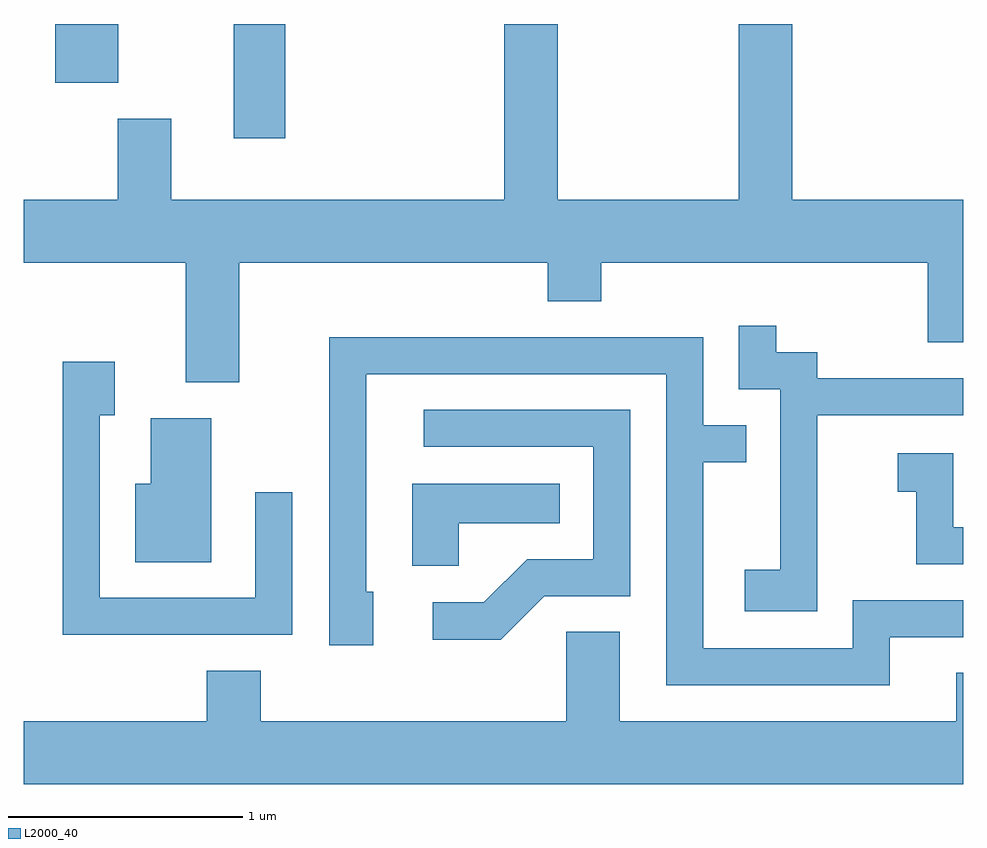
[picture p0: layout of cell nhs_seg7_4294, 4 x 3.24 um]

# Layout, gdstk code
import gdstk
lib = gdstk.Library(unit=1e-6, precision=1e-09)
def R(c, l, rs):  # rectangles x0, y0, x1, y1
    for r in rs: c.add(gdstk.rectangle(r[:2], r[2:], *l))
def P(c, l, *ps):  # polygons
    for p in ps: c.add(gdstk.Polygon(p, *l))
L2000_40 = (2000, 40)

nhs_seg7_4294 = lib.new_cell('nhs_seg7_4294')
R(nhs_seg7_4294, L2000_40, [(318.506,1683.766,318.724,1684.252), (317.746,1684.001,318.014,1684.252)])
P(nhs_seg7_4294, L2000_40, [(318.529,1683.236),(319.841,1683.236),(319.841,1683.071),(320.069,1683.071),(320.069,1683.236),(321.461,1683.236),(321.461,1682.896),(321.611,1682.896),(321.611,1683.504),(320.884,1683.504),(320.884,1684.252),(320.656,1684.252),(320.656,1683.504),(319.884,1683.504),(319.884,1684.252),(319.656,1684.252),(319.656,1683.504),(318.239,1683.504),(318.239,1683.849),(318.011,1683.849),(318.011,1683.504),(317.611,1683.504),(317.611,1683.236),(318.301,1683.236),(318.301,1682.726),(318.529,1682.726)],
  [(320.989,1682.586),(321.611,1682.586),(321.611,1682.744),(320.989,1682.744),(320.989,1682.854),(320.814,1682.854),(320.814,1682.968),(320.656,1682.968),(320.656,1682.696),(320.831,1682.696),(320.831,1681.929),(320.681,1681.929),(320.681,1681.751),(320.989,1681.751)],
  [(321.299,1681.641),(321.611,1681.641),(321.611,1681.799),(321.141,1681.799),(321.141,1681.594),(320.504,1681.594),(320.504,1682.386),(320.688,1682.386),(320.688,1682.544),(320.504,1682.544),(320.504,1682.919),(318.911,1682.919),(318.911,1681.606),(319.099,1681.606),(319.099,1681.834),(319.069,1681.834),(319.069,1682.761),(320.346,1682.761),(320.346,1681.436),(321.299,1681.436)],
  [(318.754,1682.258),(318.596,1682.258),(318.596,1681.809),(317.934,1681.809),(317.934,1682.586),(317.999,1682.586),(317.999,1682.814),(317.776,1682.814),(317.776,1681.651),(318.754,1681.651)],
  [(319.827,1681.816),(320.194,1681.816),(320.194,1682.609),(319.313,1682.609),(319.313,1682.451),(320.036,1682.451),(320.036,1681.974),(319.754,1681.974),(319.569,1681.789),(319.353,1681.789),(319.353,1681.631),(319.642,1681.631)],
  [(318.409,1682.574),(318.151,1682.574),(318.151,1682.294),(318.086,1682.294),(318.086,1681.961),(318.409,1681.961)],
  [(321.611,1682.109),(321.569,1682.109),(321.569,1682.424),(321.333,1682.424),(321.333,1682.261),(321.411,1682.261),(321.411,1681.951),(321.611,1681.951)],
  [(319.464,1682.126),(319.893,1682.126),(319.893,1682.294),(319.266,1682.294),(319.266,1681.946),(319.464,1681.946)],
  [(321.611,1681.489),(321.581,1681.489),(321.581,1681.284),(320.149,1681.284),(320.149,1681.664),(319.921,1681.664),(319.921,1681.284),(318.619,1681.284),(318.619,1681.499),(318.391,1681.499),(318.391,1681.284),(317.611,1681.284),(317.611,1681.016),(321.611,1681.016)])

lib.write_gds('nhs_seg7_4294.gds')
